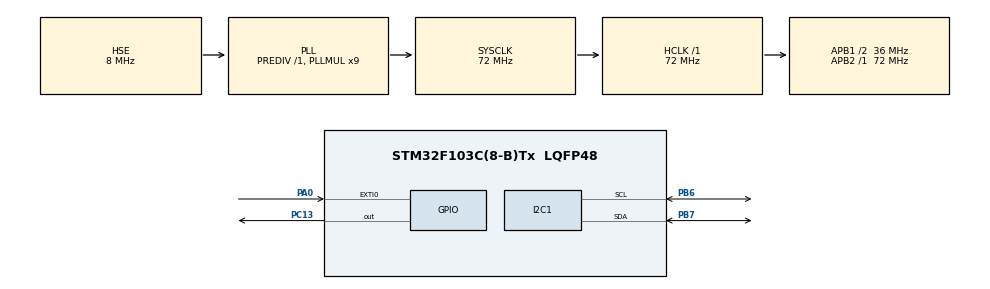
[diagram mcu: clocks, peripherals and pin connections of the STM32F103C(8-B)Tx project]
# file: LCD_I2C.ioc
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Mcu.Family=STM32F1
Mcu.Name=STM32F103C(8-B)Tx
Mcu.Package=LQFP48
NVIC.PriorityGroup=NVIC_PRIORITYGROUP_4
PA0-WKUP.Signal=GPXTI0
PA13.Mode=Serial_Wire
PA13.Signal=SYS_JTMS-SWDIO
PA14.Mode=Serial_Wire
PA14.Signal=SYS_JTCK-SWCLK
PB6.Mode=I2C
PB6.Signal=I2C1_SCL
PB7.Mode=I2C
PB7.Signal=I2C1_SDA
PC13-TAMPER-RTC.Signal=GPIO_Output
PD0-OSC_IN.Mode=HSE-External-Oscillator
PD0-OSC_IN.Signal=RCC_OSC_IN
PD1-OSC_OUT.Mode=HSE-External-Oscillator
PD1-OSC_OUT.Signal=RCC_OSC_OUT
ProjectManager.HeapSize=0x200
ProjectManager.StackSize=0x400
ProjectManager.TargetToolchain=STM32CubeIDE
RCC.AHBFreq_Value=72000000
RCC.APB1CLKDivider=RCC_HCLK_DIV2
RCC.APB1Freq_Value=36000000
RCC.APB1TimFreq_Value=72000000
RCC.APB2Freq_Value=72000000
RCC.APB2TimFreq_Value=72000000
RCC.HCLKFreq_Value=72000000
RCC.PLLMUL=RCC_PLL_MUL9
RCC.PLLSourceVirtual=RCC_PLLSOURCE_HSE
RCC.SYSCLKFreq_VALUE=72000000
RCC.SYSCLKSource=RCC_SYSCLKSOURCE_PLLCLK
RCC.USBFreq_Value=72000000
board=custom

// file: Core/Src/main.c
/* USER CODE BEGIN Header */
/**
  ******************************************************************************
  * @file           : main.c
  * @brief          : Main program body
  ******************************************************************************
  * @attention
  *
  * Copyright (c) 2023 STMicroelectronics.
  * All rights reserved.
  *
  * This software is licensed under terms that can be found in the LICENSE file
  * in the root directory of this software component.
  * If no LICENSE file comes with this software, it is provided AS-IS.
  *
  ******************************************************************************
  */
/* USER CODE END Header */
#include "main.h"
#include "lcd_i2c.h"

I2C_HandleTypeDef hi2c1;
LCD_I2C_HandleTypeDef p_LCD;

void SystemClock_Config(void);
static void MX_GPIO_Init(void);
static void MX_I2C1_Init(void);

/* USER CODE BEGIN 0 */
uint8_t is_debounced = 1;
int32_t debounce_timer = 0;
enum led_state{
	LED_OFF,
	HIGH_BLINK
};
enum led_state state;
void HAL_GPIO_EXTI_Callback(uint16_t GPIO_Pin)
{
	if ((GPIO_Pin == GPIO_PIN_0) && (is_debounced == 1)){
		is_debounced = 0;
		debounce_timer = HAL_GetTick();
	}
}
/* USER CODE END 0 */

int main(void)
{

  /* MCU Configuration--------------------------------------------------------*/

  /* Reset of all peripherals, Initializes the Flash interface and the Systick. */
  HAL_Init();

  /* Configure the system clock */
  SystemClock_Config();

  /* Initialize all configured peripherals */
  MX_GPIO_Init();
  MX_I2C1_Init();
  /* USER CODE BEGIN 2 */
state = LED_OFF ;
uint32_t blink_timer = 0;

lcd_i2c_init(&p_LCD,&hi2c1,16,2,0x27<<1);
lcd_clear(&p_LCD);
lcd_set_cursor(&p_LCD,0,2);
lcd_send_string(&p_LCD,"3 MUSKETEERS");
lcd_set_cursor(&p_LCD,1,2);
lcd_send_string(&p_LCD,"PIF COURSE");
  /* USER CODE END 2 */

  /* Infinite loop */
  while (1)
  {

    /* USER CODE BEGIN 3 */
	if ((is_debounced == 0)&& ((HAL_GetTick() - debounce_timer) >= 100)) {
		is_debounced = 1;
		if (state == HIGH_BLINK){
			state == LED_OFF;
		} else state = state + 1;
	}
	switch (state) {
	case LED_OFF:
		HAL_GPIO_WritePin(GPIOC,GPIO_PIN_13,1);
		break;
	case HIGH_BLINK:
		if ((HAL_GetTick() - blink_timer) >= 100){
			HAL_GPIO_TogglePin(GPIOC,GPIO_PIN_13);
			blink_timer = HAL_GetTick();
		}
		lcd_clear(&p_LCD);
		lcd_set_cursor(&p_LCD,0,2);
		lcd_send_string(&p_LCD,"PLEASE SLOW DOWN !");
		break;
	default:
		break;
	}
  }

  /* USER CODE END 3 */
}

void SystemClock_Config(void)
{
  RCC_OscInitTypeDef RCC_OscInitStruct = {0};
  RCC_ClkInitTypeDef RCC_ClkInitStruct = {0};

  /** Initializes the RCC Oscillators according to the specified parameters
  * in the RCC_OscInitTypeDef structure.
  */
  RCC_OscInitStruct.OscillatorType = RCC_OSCILLATORTYPE_HSE;
  RCC_OscInitStruct.HSEState = RCC_HSE_ON;
  RCC_OscInitStruct.HSEPredivValue = RCC_HSE_PREDIV_DIV1;
  RCC_OscInitStruct.HSIState = RCC_HSI_ON;
  RCC_OscInitStruct.PLL.PLLState = RCC_PLL_ON;
  RCC_OscInitStruct.PLL.PLLSource = RCC_PLLSOURCE_HSE;
  RCC_OscInitStruct.PLL.PLLMUL = RCC_PLL_MUL9;
  if (HAL_RCC_OscConfig(&RCC_OscInitStruct) != HAL_OK)
  {
    Error_Handler();
  }

  /** Initializes the CPU, AHB and APB buses clocks
  */
  RCC_ClkInitStruct.ClockType = RCC_CLOCKTYPE_HCLK|RCC_CLOCKTYPE_SYSCLK
                              |RCC_CLOCKTYPE_PCLK1|RCC_CLOCKTYPE_PCLK2;
  RCC_ClkInitStruct.SYSCLKSource = RCC_SYSCLKSOURCE_PLLCLK;
  RCC_ClkInitStruct.AHBCLKDivider = RCC_SYSCLK_DIV1;
  RCC_ClkInitStruct.APB1CLKDivider = RCC_HCLK_DIV2;
  RCC_ClkInitStruct.APB2CLKDivider = RCC_HCLK_DIV1;

  if (HAL_RCC_ClockConfig(&RCC_ClkInitStruct, FLASH_LATENCY_2) != HAL_OK)
  {
    Error_Handler();
  }
}

static void MX_I2C1_Init(void)
{

  hi2c1.Instance = I2C1;
  hi2c1.Init.ClockSpeed = 100000;
  hi2c1.Init.DutyCycle = I2C_DUTYCYCLE_2;
  hi2c1.Init.OwnAddress1 = 0;
  hi2c1.Init.AddressingMode = I2C_ADDRESSINGMODE_7BIT;
  hi2c1.Init.DualAddressMode = I2C_DUALADDRESS_DISABLE;
  hi2c1.Init.OwnAddress2 = 0;
  hi2c1.Init.GeneralCallMode = I2C_GENERALCALL_DISABLE;
  hi2c1.Init.NoStretchMode = I2C_NOSTRETCH_DISABLE;
  if (HAL_I2C_Init(&hi2c1) != HAL_OK)
  {
    Error_Handler();
  }

}

static void MX_GPIO_Init(void)
{
  GPIO_InitTypeDef GPIO_InitStruct = {0};

  /* GPIO Ports Clock Enable */
  __HAL_RCC_GPIOC_CLK_ENABLE();
  __HAL_RCC_GPIOD_CLK_ENABLE();
  __HAL_RCC_GPIOA_CLK_ENABLE();
  __HAL_RCC_GPIOB_CLK_ENABLE();

  /*Configure GPIO pin Output Level */
  HAL_GPIO_WritePin(GPIOC, GPIO_PIN_13, GPIO_PIN_RESET);

  /*Configure GPIO pin : PC13 */
  GPIO_InitStruct.Pin = GPIO_PIN_13;
  GPIO_InitStruct.Mode = GPIO_MODE_OUTPUT_PP;
  GPIO_InitStruct.Pull = GPIO_NOPULL;
  GPIO_InitStruct.Speed = GPIO_SPEED_FREQ_LOW;
  HAL_GPIO_Init(GPIOC, &GPIO_InitStruct);

  /*Configure GPIO pin : PA0 */
  GPIO_InitStruct.Pin = GPIO_PIN_0;
  GPIO_InitStruct.Mode = GPIO_MODE_IT_RISING;
  GPIO_InitStruct.Pull = GPIO_NOPULL;
  HAL_GPIO_Init(GPIOA, &GPIO_InitStruct);

}

void Error_Handler(void)
{
  __disable_irq();
  while (1)
  {
  }
}
